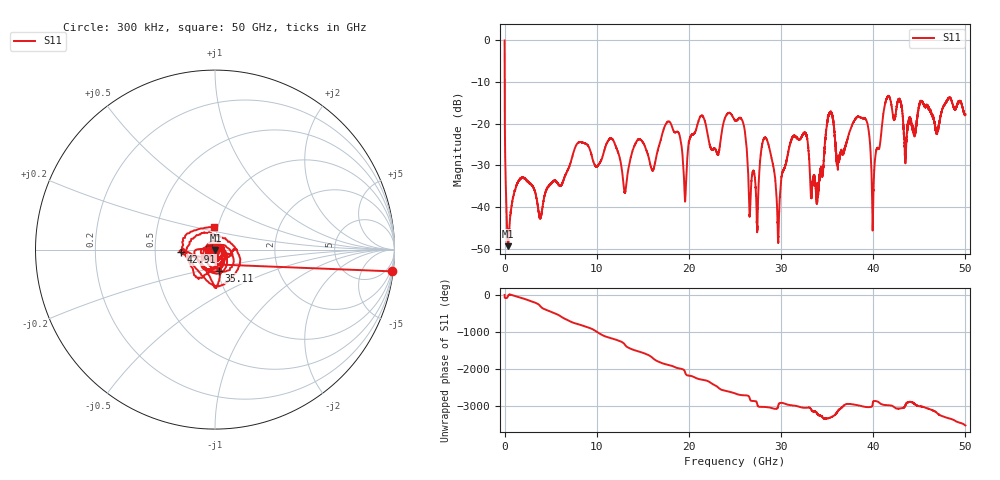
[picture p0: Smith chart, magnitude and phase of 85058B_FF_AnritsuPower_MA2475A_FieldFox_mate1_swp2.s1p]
!Created with skrf (http://scikit-rf.org).
# Hz S RI R 50.0
!freq ReS11 ImS11
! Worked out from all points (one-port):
!   10001 points, 300 kHz to 50 GHz, reference 50 ohm
!   lowest |S11| = -49.4 dB at 350.3 MHz (marker M1), VSWR 1.01, Z = 50.2 - j0.241 ohm
!   |S11| at or under -10 dB: 7.726 MHz to end of sweep
!   S11 on the Smith chart (normalised r, x): 300 kHz: 1, -16; 35.11 GHz: 1.02, -0.24; 42.91 GHz: 0.68, -0.02; 50 GHz: 0.97, +0.26
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300000  0.9861 -0.1213
3.502979e8  0.00239 -0.0024
1.765289e9  0.00213 -0.022
3.860277e9  0.00423 0.00634
6.250262e9  -0.00718 0.0177
8.090251e9  0.0098 -0.059
1.250022e10  -0.0371 -0.00909
1.307522e10  -0.000154 0.0148
1.875019e10  -0.0785 -0.0151
1.958518e10  0.00294 0.0116
2.126517e10  -0.0514 -0.1116
2.305016e10  0.0263 0.035
2.500015e10  -0.0707 -0.0845
2.735514e10  0.00739 -0.000612
2.845513e10  -0.0473 -0.0437
2.968512e10  -0.000981 -0.00373
3.125011e10  -0.00541 -0.0685
3.26551e10  -0.0699 -0.0309
3.39251e10  0.00757 0.00841
3.510509e10  0.0226 -0.1175
3.620008e10  -0.0232 0.0325
3.750008e10  0.0494 -0.067
3.923006e10  -0.0795 -0.0775
3.999506e10  0.0101 0.00193
4.141505e10  0.0161 -0.1947
4.291004e10  -0.187 -0.0131
4.375004e10  0.0961 -0.0147
5e10  0.00255 0.1294
